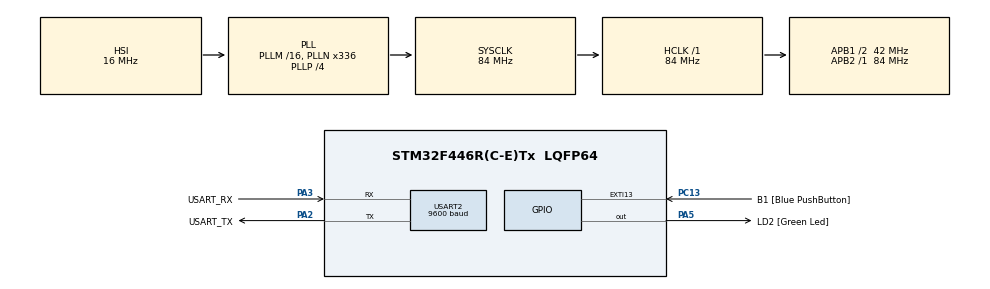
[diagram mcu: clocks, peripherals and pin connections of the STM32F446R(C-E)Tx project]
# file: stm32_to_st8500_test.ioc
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Mcu.Family=STM32F4
Mcu.Name=STM32F446R(C-E)Tx
Mcu.Package=LQFP64
NVIC.PriorityGroup=NVIC_PRIORITYGROUP_0
PA13.GPIO_Label=TMS
PA13.Mode=Serial_Wire
PA13.Signal=SYS_JTMS-SWDIO
PA14.GPIO_Label=TCK
PA14.Mode=Serial_Wire
PA14.Signal=SYS_JTCK-SWCLK
PA2.GPIO_Label=USART_TX
PA2.Mode=Asynchronous
PA2.Signal=USART2_TX
PA3.GPIO_Label=USART_RX
PA3.Mode=Asynchronous
PA3.Signal=USART2_RX
PA5.GPIO_Label=LD2 [Green Led]
PA5.Signal=GPIO_Output
PB3.GPIO_Label=SWO
PB3.Signal=SYS_JTDO-SWO
PC13.GPIO_Label=B1 [Blue PushButton]
PC13.GPIO_ModeDefaultEXTI=GPIO_MODE_IT_FALLING
PC13.Signal=GPXTI13
PC14-OSC32_IN.Mode=LSE-External-Oscillator
PC14-OSC32_IN.Signal=RCC_OSC32_IN
PC15-OSC32_OUT.Mode=LSE-External-Oscillator
PC15-OSC32_OUT.Signal=RCC_OSC32_OUT
PH0-OSC_IN.Mode=HSE-External-Oscillator
PH0-OSC_IN.Signal=RCC_OSC_IN
PH1-OSC_OUT.Mode=HSE-External-Oscillator
PH1-OSC_OUT.Signal=RCC_OSC_OUT
ProjectManager.HeapSize=0x200
ProjectManager.StackSize=0x400
ProjectManager.TargetToolchain=EWARM V8.50
RCC.48MHZClocksFreq_Value=84000000
RCC.AHBFreq_Value=84000000
RCC.APB1CLKDivider=RCC_HCLK_DIV2
RCC.APB1Freq_Value=42000000
RCC.APB1TimFreq_Value=84000000
RCC.APB2Freq_Value=84000000
RCC.APB2TimFreq_Value=84000000
RCC.CortexFreq_Value=84000000
RCC.FLatency-AdvancedSettings=FLASH_LATENCY_2
RCC.HCLKFreq_Value=84000000
RCC.HSE_VALUE=8000000
RCC.HSI_VALUE=16000000
RCC.PLLN=336
RCC.PLLP=RCC_PLLP_DIV4
RCC.SYSCLKFreq_VALUE=84000000
RCC.SYSCLKSource=RCC_SYSCLKSOURCE_PLLCLK
RCC.USBFreq_Value=168000000
RCC.VCOOutputFreq_Value=336000000
USART2.BaudRate=9600
USART2.VirtualMode=VM_ASYNC
board=NUCLEO-F446RE

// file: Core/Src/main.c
/* USER CODE BEGIN Header */
/**
  ******************************************************************************
  * @file           : main.c
  * @brief          : Main program body
  ******************************************************************************
  * @attention
  *
  * Copyright (c) 2026 STMicroelectronics.
  * All rights reserved.
  *
  * This software is licensed under terms that can be found in the LICENSE file
  * in the root directory of this software component.
  * If no LICENSE file comes with this software, it is provided AS-IS.
  *
  ******************************************************************************
  */
/* USER CODE END Header */
#include "main.h"

/* USER CODE BEGIN PD */
#define ST8500_SYNC_BYTE       0x16
#define ST8500_MODE            0xFE

#define ST8500_CMD_MIB_GET     0x21

#define ST8500_MIB_BOOT_VER    0x04

#define ST8500_TIMEOUT_MS      500
/* USER CODE END PD */

UART_HandleTypeDef huart2;

void SystemClock_Config(void);
static void MX_GPIO_Init(void);
static void MX_USART2_UART_Init(void);
/* USER CODE BEGIN PFP */
static uint16_t ST8500_CRC16_XMODEM(const uint8_t *data, uint16_t length);
static HAL_StatusTypeDef ST8500_ReadBootVersion(uint32_t *bootVersion);
/* USER CODE END PFP */

  /* USER CODE BEGIN 0 */
  /*
  * Calculate CRC-16/XMODEM.
  *
  * ST's ST8500 host interface uses CRC protection on messages.
  * This implementation can later be reused for additional
  * ST8500 commands.
  */
  static uint16_t ST8500_CRC16_XMODEM(const uint8_t *data, uint16_t length)
  {
      uint16_t crc = 0x0000;

      for (uint16_t i = 0; i < length; i++)
      {
          crc ^= ((uint16_t)data[i] << 8);

          for (uint8_t bit = 0; bit < 8; bit++)
          {
              if (crc & 0x8000)
              {
                  crc = (crc << 1) ^ 0x1021;
              }
              else
              {
                  crc <<= 1;
              }
          }
      }

      return crc;
  }

  /*
  * Ask the ST8500 bootloader for its boot version.
  *
  * Returns HAL_OK if a valid ST8500 response is received.
  */
  static HAL_StatusTypeDef ST8500_ReadBootVersion(uint32_t *bootVersion)
  {
      /*
      * MIB_Get request:
      *
      * [0..1]  Sync
      * [2]     Command ID
      * [3..4]  Message length
      * [5]     Mode
      * [6..9]  State/reserved
      * [10]    MIB attribute
      * [11..12] CRC
      */

      uint8_t txBuffer[13] = {0};

      txBuffer[0] = ST8500_SYNC_BYTE;
      txBuffer[1] = ST8500_SYNC_BYTE;

      txBuffer[2] = ST8500_CMD_MIB_GET;

      /* Payload contains one byte: the MIB ID */
      txBuffer[3] = 0x01;
      txBuffer[4] = 0x00;

      txBuffer[5] = ST8500_MODE;

      /* State field for request */
      txBuffer[6] = 0x00;
      txBuffer[7] = 0x00;
      txBuffer[8] = 0x00;
      txBuffer[9] = 0x00;

      /* Request ST8500 bootloader version */
      txBuffer[10] = ST8500_MIB_BOOT_VER;

      uint16_t crc = ST8500_CRC16_XMODEM(txBuffer, 11);

      /* CRC is transmitted little-endian */
      txBuffer[11] = (uint8_t)(crc & 0xFF);
      txBuffer[12] = (uint8_t)((crc >> 8) & 0xFF);

      /*
      * Boot version MIB is four bytes, so the expected
      * complete response is 16 bytes.
      */
      uint8_t rxBuffer[16] = {0};

      HAL_StatusTypeDef status;

      status = HAL_UART_Transmit(
          &huart2,
          txBuffer,
          sizeof(txBuffer),
          ST8500_TIMEOUT_MS
      );

      if (status != HAL_OK)
      {
          return status;
      }

      status = HAL_UART_Receive(
          &huart2,
          rxBuffer,
          sizeof(rxBuffer),
          ST8500_TIMEOUT_MS
      );

      if (status != HAL_OK)
      {
          return status;
      }

      /* Check synchronization bytes */
      if ((rxBuffer[0] != ST8500_SYNC_BYTE) ||
          (rxBuffer[1] != ST8500_SYNC_BYTE))
      {
          return HAL_ERROR;
      }

      /* Response should match our MIB_GET command */
      if (rxBuffer[2] != ST8500_CMD_MIB_GET)
      {
          return HAL_ERROR;
      }

      /*
      * STATE = 0 means ACK.
      * Bytes 6-9 form the four-byte state field.
      */
      if ((rxBuffer[6] != 0x00) ||
          (rxBuffer[7] != 0x00) ||
          (rxBuffer[8] != 0x00) ||
          (rxBuffer[9] != 0x00))
      {
          return HAL_ERROR;
      }

      /*
      * MIB boot version is four bytes.
      * ST8500 protocol uses little-endian fields.
      */
      *bootVersion =
            ((uint32_t)rxBuffer[10])
          | ((uint32_t)rxBuffer[11] << 8)
          | ((uint32_t)rxBuffer[12] << 16)
          | ((uint32_t)rxBuffer[13] << 24);

      return HAL_OK;
  }
/* USER CODE END 0 */

int main(void)
{

  /* MCU Configuration--------------------------------------------------------*/

  /* Reset of all peripherals, Initializes the Flash interface and the Systick. */
  HAL_Init();

  /* Configure the system clock */
  SystemClock_Config();

  /* Initialize all configured peripherals */
  MX_GPIO_Init();
  MX_USART2_UART_Init();
  /* USER CODE BEGIN 2 */
  uint32_t st8500BootVersion = 0;

  HAL_GPIO_WritePin(LD2_GPIO_Port, LD2_Pin, GPIO_PIN_RESET);

  HAL_Delay(100);

  if (ST8500_ReadBootVersion(&st8500BootVersion) == HAL_OK)
  {
      /*
      * ST8500 responded successfully.
      * Turn on the Nucleo LED.
      */
      HAL_GPIO_WritePin(LD2_GPIO_Port, LD2_Pin, GPIO_PIN_SET);
  }
  else
  {
      /*
      * No valid response.
      * Leave LED off.
      */
      HAL_GPIO_WritePin(LD2_GPIO_Port, LD2_Pin, GPIO_PIN_RESET);
  }
  /* USER CODE END 2 */

  /* Infinite loop */
  while (1)
  {

  }
}

void SystemClock_Config(void)
{
  RCC_OscInitTypeDef RCC_OscInitStruct = {0};
  RCC_ClkInitTypeDef RCC_ClkInitStruct = {0};

  /** Configure the main internal regulator output voltage
  */
  __HAL_RCC_PWR_CLK_ENABLE();
  __HAL_PWR_VOLTAGESCALING_CONFIG(PWR_REGULATOR_VOLTAGE_SCALE3);

  /** Initializes the RCC Oscillators according to the specified parameters
  * in the RCC_OscInitTypeDef structure.
  */
  RCC_OscInitStruct.OscillatorType = RCC_OSCILLATORTYPE_HSI;
  RCC_OscInitStruct.HSIState = RCC_HSI_ON;
  RCC_OscInitStruct.HSICalibrationValue = RCC_HSICALIBRATION_DEFAULT;
  RCC_OscInitStruct.PLL.PLLState = RCC_PLL_ON;
  RCC_OscInitStruct.PLL.PLLSource = RCC_PLLSOURCE_HSI;
  RCC_OscInitStruct.PLL.PLLM = 16;
  RCC_OscInitStruct.PLL.PLLN = 336;
  RCC_OscInitStruct.PLL.PLLP = RCC_PLLP_DIV4;
  RCC_OscInitStruct.PLL.PLLQ = 2;
  RCC_OscInitStruct.PLL.PLLR = 2;
  if (HAL_RCC_OscConfig(&RCC_OscInitStruct) != HAL_OK)
  {
    Error_Handler();
  }

  /** Initializes the CPU, AHB and APB buses clocks
  */
  RCC_ClkInitStruct.ClockType = RCC_CLOCKTYPE_HCLK|RCC_CLOCKTYPE_SYSCLK
                              |RCC_CLOCKTYPE_PCLK1|RCC_CLOCKTYPE_PCLK2;
  RCC_ClkInitStruct.SYSCLKSource = RCC_SYSCLKSOURCE_PLLCLK;
  RCC_ClkInitStruct.AHBCLKDivider = RCC_SYSCLK_DIV1;
  RCC_ClkInitStruct.APB1CLKDivider = RCC_HCLK_DIV2;
  RCC_ClkInitStruct.APB2CLKDivider = RCC_HCLK_DIV1;

  if (HAL_RCC_ClockConfig(&RCC_ClkInitStruct, FLASH_LATENCY_2) != HAL_OK)
  {
    Error_Handler();
  }
}

static void MX_USART2_UART_Init(void)
{

  huart2.Instance = USART2;
  huart2.Init.BaudRate = 9600;
  huart2.Init.WordLength = UART_WORDLENGTH_8B;
  huart2.Init.StopBits = UART_STOPBITS_1;
  huart2.Init.Parity = UART_PARITY_NONE;
  huart2.Init.Mode = UART_MODE_TX_RX;
  huart2.Init.HwFlowCtl = UART_HWCONTROL_NONE;
  huart2.Init.OverSampling = UART_OVERSAMPLING_16;
  if (HAL_UART_Init(&huart2) != HAL_OK)
  {
    Error_Handler();
  }

}

static void MX_GPIO_Init(void)
{
  GPIO_InitTypeDef GPIO_InitStruct = {0};

  /* GPIO Ports Clock Enable */
  __HAL_RCC_GPIOC_CLK_ENABLE();
  __HAL_RCC_GPIOH_CLK_ENABLE();
  __HAL_RCC_GPIOA_CLK_ENABLE();
  __HAL_RCC_GPIOB_CLK_ENABLE();

  /*Configure GPIO pin Output Level */
  HAL_GPIO_WritePin(LD2_GPIO_Port, LD2_Pin, GPIO_PIN_RESET);

  /*Configure GPIO pin : B1_Pin */
  GPIO_InitStruct.Pin = B1_Pin;
  GPIO_InitStruct.Mode = GPIO_MODE_IT_FALLING;
  GPIO_InitStruct.Pull = GPIO_NOPULL;
  HAL_GPIO_Init(B1_GPIO_Port, &GPIO_InitStruct);

  /*Configure GPIO pin : LD2_Pin */
  GPIO_InitStruct.Pin = LD2_Pin;
  GPIO_InitStruct.Mode = GPIO_MODE_OUTPUT_PP;
  GPIO_InitStruct.Pull = GPIO_NOPULL;
  GPIO_InitStruct.Speed = GPIO_SPEED_FREQ_LOW;
  HAL_GPIO_Init(LD2_GPIO_Port, &GPIO_InitStruct);

}

void Error_Handler(void)
{
  __disable_irq();
  while (1)
  {
  }
}
